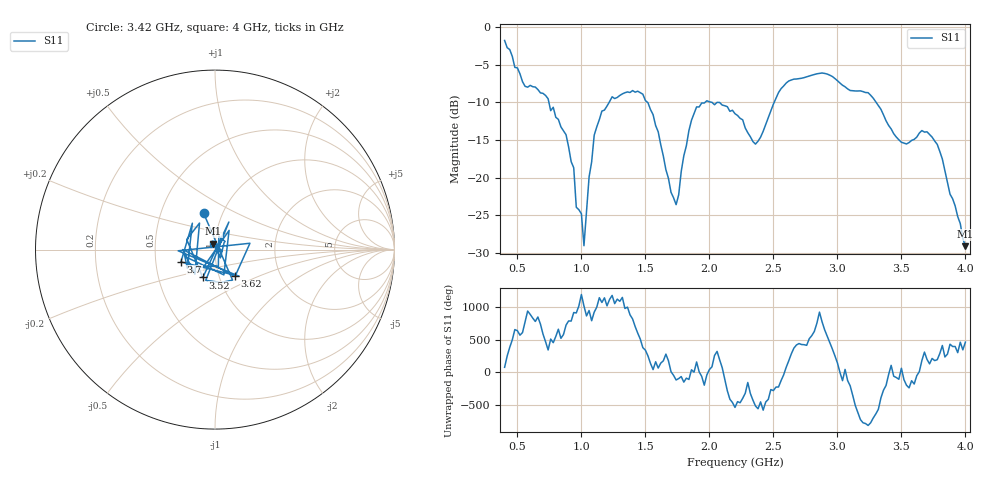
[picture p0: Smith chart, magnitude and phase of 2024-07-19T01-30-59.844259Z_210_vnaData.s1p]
!Created with skrf (http://scikit-rf.org).
# Hz S RI R 50.0
!freq ReS11 ImS11
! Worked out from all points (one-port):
!   181 points, 400 MHz to 4 GHz, reference 50 ohm
!   lowest |S11| = -29.1 dB at 4 GHz (marker M1), VSWR 1.07, Z = 49 + j3.3 ohm
!   |S11| at or under -10 dB: 746.2 MHz to 1.216 GHz (470 MHz wide, 47.9 % of centre); 1.518 GHz to 1.965 GHz (447.1 MHz wide, 25.7 % of centre); 3.303 GHz to end of sweep (the widest 3 of 5)
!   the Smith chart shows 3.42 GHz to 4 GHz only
!   S11 on the Smith chart (normalised r, x): 3.42 GHz: 0.82, +0.34; 3.52 GHz: 0.83, -0.27; 3.62 GHz: 1.19, -0.37; 3.7 GHz: 0.68, -0.10; 4 GHz: 0.98, +0.07
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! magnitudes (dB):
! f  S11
! 400 MHz  -1.7
! 560 MHz  -7.8
! 720 MHz  -9.1
! 860 MHz  -13.8
! 940 MHz  -18.7
! 960 MHz  -24.0
! 1 GHz  -24.8
! 1.02 GHz  -29.1
! 1.06 GHz  -19.9
! 1.1 GHz  -14.3
! 1.3 GHz  -9.1
! 1.52 GHz  -10.0
! 1.7 GHz  -22.0
! 1.76 GHz  -22.3
! 1.84 GHz  -13.7
! 1.9 GHz  -10.6
! 2.2 GHz  -11.5
! 2.36 GHz  -15.5
! 2.66 GHz  -6.9
! 3.1 GHz  -8.4
! 3.24 GHz  -8.7
! 3.42 GHz  -13.5
! 3.52 GHz  -15.4
! 3.56 GHz  -15.3
! 3.62 GHz  -14.6
! 3.7 GHz  -13.9
! 3.82 GHz  -17.5
! 4 GHz  -29.1
